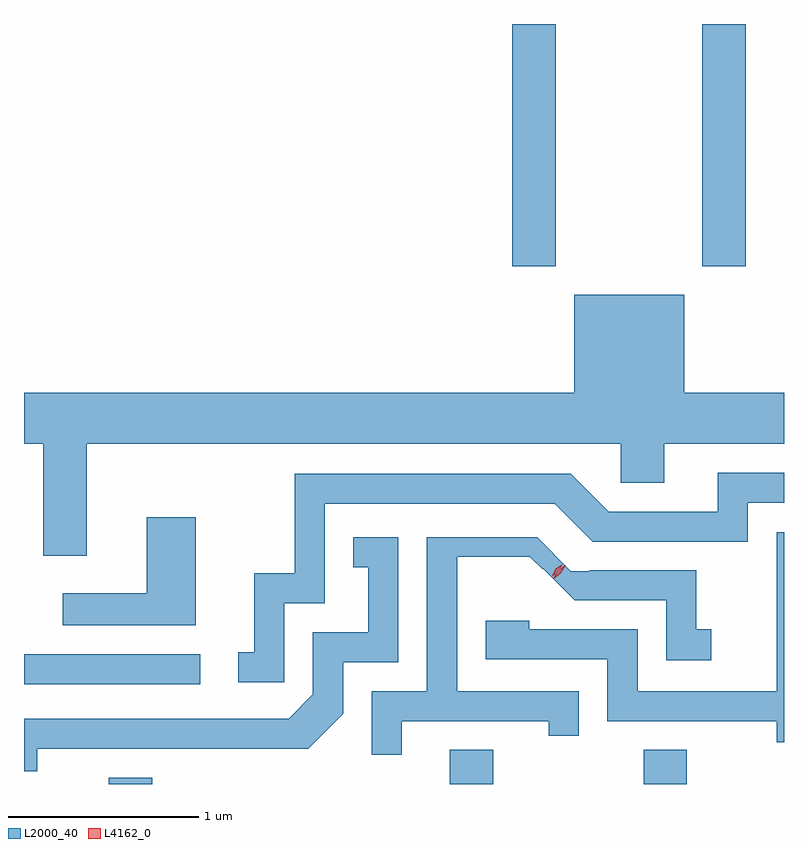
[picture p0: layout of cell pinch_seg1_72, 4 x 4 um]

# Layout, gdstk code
import gdstk
lib = gdstk.Library(unit=1e-6, precision=1e-09)
def R(c, l, rs):  # rectangles x0, y0, x1, y1
    for r in rs: c.add(gdstk.rectangle(r[:2], r[2:], *l))
def P(c, l, *ps):  # polygons
    for p in ps: c.add(gdstk.Polygon(p, *l))
L2000_40 = (2000, 40)
L4162_0 = (4162, 0)

pinch_seg1_72 = lib.new_cell('pinch_seg1_72')
R(pinch_seg1_72, L2000_40, [(207.666,888.905,207.894,888.939), (209.461,888.905,209.689,889.084), (210.481,888.905,210.709,889.084), (207.22,889.431,208.148,889.589), (209.791,891.631,210.019,892.905), (210.791,891.631,211.019,892.905)])
P(pinch_seg1_72, L2000_40, [(207.549,890.696),(210.361,890.696),(210.361,890.491),(210.589,890.491),(210.589,890.696),(211.22,890.696),(211.22,890.964),(210.694,890.964),(210.694,891.479),(210.116,891.479),(210.116,890.964),(207.22,890.964),(207.22,890.696),(207.321,890.696),(207.321,890.106),(207.549,890.106)],
  [(208.589,889.856),(208.804,889.856),(208.804,890.381),(210.014,890.381),(210.214,890.181),(211.029,890.181),(211.029,890.386),(211.22,890.386),(211.22,890.544),(210.871,890.544),(210.871,890.339),(210.297,890.339),(210.097,890.539),(208.646,890.539),(208.646,890.014),(208.431,890.014),(208.431,889.599),(208.348,889.599),(208.348,889.441),(208.589,889.441)],
  [(208.124,890.309),(207.866,890.309),(207.866,889.909),(207.423,889.909),(207.423,889.741),(208.124,889.741)],
  [(211.22,890.229),(211.181,890.229),(211.181,889.394),(210.449,889.394),(210.449,889.719),(209.879,889.719),(209.879,889.764),(209.651,889.764),(209.651,889.561),(210.291,889.561),(210.291,889.236),(211.181,889.236),(211.181,889.126),(211.22,889.126)],
  [(207.289,889.091),(208.717,889.091),(208.899,889.274),(208.899,889.546),(209.189,889.546),(209.189,890.204),(208.953,890.204),(208.953,890.046),(209.031,890.046),(209.031,889.704),(208.741,889.704),(208.741,889.377),(208.614,889.249),(207.22,889.249),(207.22,888.971),(207.289,888.971)],
  [(209.209,889.236),(209.981,889.236),(209.981,889.158),(210.139,889.158),(210.139,889.394),(209.499,889.394),(209.499,890.1),(209.595,890.1),(209.595,890.102),(209.881,890.102),(209.949,890.034),(209.952,890.037),(210.118,889.871),(210.601,889.871),(210.601,889.556),(210.838,889.556),(210.838,889.719),(210.759,889.719),(210.759,890.029),(210.195,890.029),(210.195,890.026),(210.098,890.026),(209.921,890.203),(209.341,890.203),(209.341,889.394),(209.051,889.394),(209.051,889.058),(209.209,889.058)])
P(pinch_seg1_72, L4162_0, [(209.999,889.999),(209.999,890),(210.019,890.037),(210.054,890.062),(210.054,890.062),(210.054,890.061),(210.034,890.024),(210,889.999)],
  [(210.006,889.985),(210.006,889.985),(210.03,890.027),(210.068,890.056),(210.069,890.056),(210.069,890.055),(210.045,890.014),(210.007,889.985)])

lib.write_gds('pinch_seg1_72.gds')
